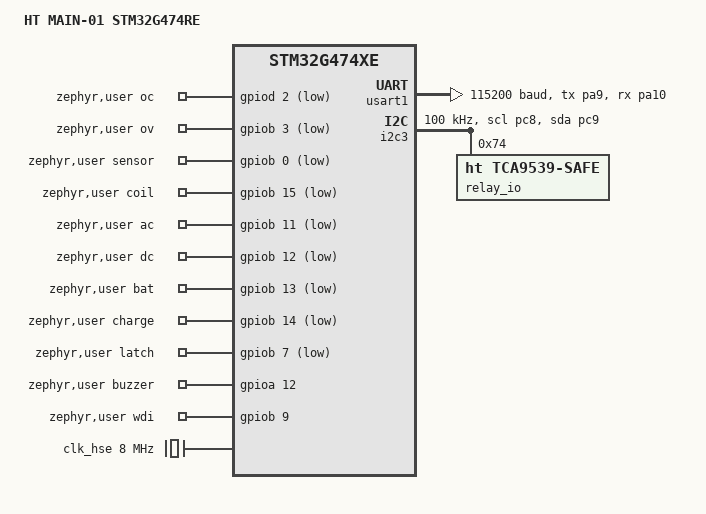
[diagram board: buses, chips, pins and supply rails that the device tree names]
/dts-v1/;
#include <st/g4/stm32g474Xe.dtsi>
#include <st/g4/stm32g474r(b-c-e)tx-pinctrl.dtsi>
#include <zephyr/dt-bindings/gpio/gpio.h>
#include <zephyr/dt-bindings/i2c/i2c.h>

/ {
	model = "HT MAIN-01 STM32G474RE";
	compatible = "ht,ht-main";

	chosen {
		zephyr,console = &usart1;
		zephyr,sram = &sram0;
		zephyr,flash = &flash0;
	};

	zephyr,user {
		oc-gpios = <&gpiod 2 GPIO_ACTIVE_LOW>;
		ov-gpios = <&gpiob 3 GPIO_ACTIVE_LOW>;
		sensor-gpios = <&gpiob 0 GPIO_ACTIVE_LOW>;
		coil-gpios = <&gpiob 15 GPIO_ACTIVE_LOW>;
		ac-gpios = <&gpiob 11 GPIO_ACTIVE_LOW>;
		dc-gpios = <&gpiob 12 GPIO_ACTIVE_LOW>;
		bat-gpios = <&gpiob 13 GPIO_ACTIVE_LOW>;
		charge-gpios = <&gpiob 14 GPIO_ACTIVE_LOW>;
		latch-gpios = <&gpiob 7 (GPIO_ACTIVE_LOW | GPIO_OPEN_DRAIN)>;
		buzzer-gpios = <&gpioa 12 GPIO_ACTIVE_HIGH>;
		wdi-gpios = <&gpiob 9 GPIO_ACTIVE_HIGH>;
	};
};

&clk_hse {
	clock-frequency = <DT_FREQ_M(8)>;
	status = "okay";
};

&pll {
	div-m = <2>;
	mul-n = <85>;
	div-p = <7>;
	div-q = <2>;
	div-r = <2>;
	clocks = <&clk_hse>;
	status = "okay";
};

&rcc {
	clocks = <&pll>;
	clock-frequency = <DT_FREQ_M(170)>;
	ahb-prescaler = <1>;
	apb1-prescaler = <1>;
	apb2-prescaler = <1>;
};

&usart1 {
	pinctrl-0 = <&usart1_tx_pa9 &usart1_rx_pa10>;
	pinctrl-names = "default";
	current-speed = <115200>;
	status = "okay";
};

/* Reserved for DWIN; enable after the screen baud rate and VP map are supplied. */
&usart3 {
	pinctrl-0 = <&usart3_tx_pc10 &usart3_rx_pc11>;
	pinctrl-names = "default";
	status = "disabled";
};

&i2c3 {
	pinctrl-0 = <&i2c3_scl_pc8 &i2c3_sda_pc9>;
	pinctrl-names = "default";
	clock-frequency = <I2C_BITRATE_STANDARD>;
	status = "okay";

	relay_io: tca9539@74 {
		compatible = "ht,tca9539-safe";
		reg = <0x74>;
	};
};

/* The acquisition driver will own these resources in a later increment. */
&adc1 { status = "disabled"; };
&adc2 { status = "disabled"; };
&dac1 { status = "disabled"; };
&timers3 { status = "disabled"; };
&timers6 { status = "disabled"; };
&iwdg { status = "disabled"; };
